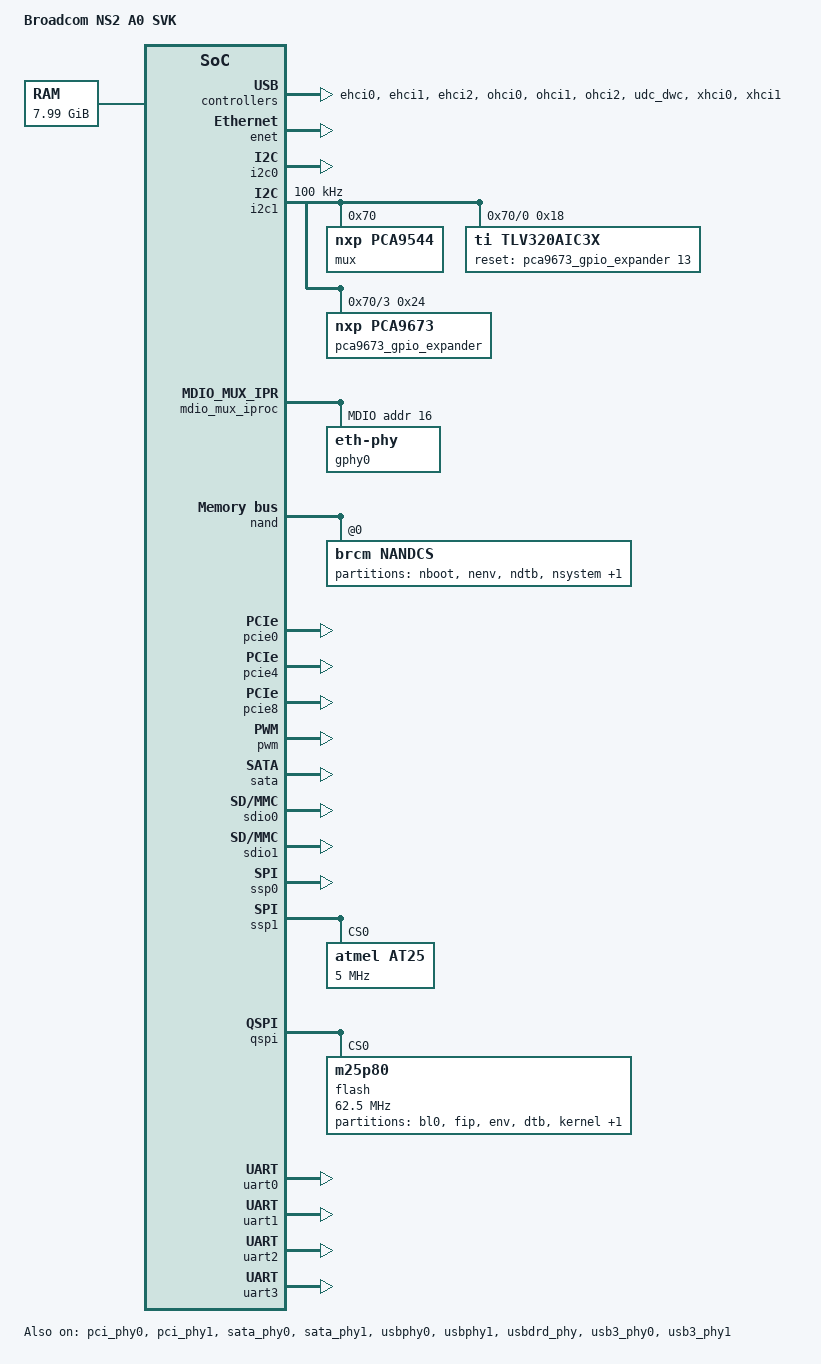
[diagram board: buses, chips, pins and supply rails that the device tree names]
/*
 *  BSD LICENSE
 *
 *  Copyright(c) 2016 Broadcom.  All rights reserved.
 *
 *  Redistribution and use in source and binary forms, with or without
 *  modification, are permitted provided that the following conditions
 *  are met:
 *
 *    * Redistributions of source code must retain the above copyright
 *      notice, this list of conditions and the following disclaimer.
 *    * Redistributions in binary form must reproduce the above copyright
 *      notice, this list of conditions and the following disclaimer in
 *      the documentation and/or other materials provided with the
 *      distribution.
 *    * Neither the name of Broadcom Corporation nor the names of its
 *      contributors may be used to endorse or promote products derived
 *      from this software without specific prior written permission.
 *
 *  THIS SOFTWARE IS PROVIDED BY THE COPYRIGHT HOLDERS AND CONTRIBUTORS
 *  "AS IS" AND ANY EXPRESS OR IMPLIED WARRANTIES, INCLUDING, BUT NOT
 *  LIMITED TO, THE IMPLIED WARRANTIES OF MERCHANTABILITY AND FITNESS FOR
 *  A PARTICULAR PURPOSE ARE DISCLAIMED. IN NO EVENT SHALL THE COPYRIGHT
 *  OWNER OR CONTRIBUTORS BE LIABLE FOR ANY DIRECT, INDIRECT, INCIDENTAL,
 *  SPECIAL, EXEMPLARY, OR CONSEQUENTIAL DAMAGES (INCLUDING, BUT NOT
 *  LIMITED TO, PROCUREMENT OF SUBSTITUTE GOODS OR SERVICES; LOSS OF USE,
 *  DATA, OR PROFITS; OR BUSINESS INTERRUPTION) HOWEVER CAUSED AND ON ANY
 *  THEORY OF LIABILITY, WHETHER IN CONTRACT, STRICT LIABILITY, OR TORT
 *  (INCLUDING NEGLIGENCE OR OTHERWISE) ARISING IN ANY WAY OUT OF THE USE
 * OF THIS SOFTWARE, EVEN IF ADVISED OF THE POSSIBILITY OF SUCH DAMAGE.
 */

/dts-v1/;

#include "ns2-a0.dtsi"

/ {
	model = "Broadcom NS2 A0 SVK";
	compatible = "brcm,ns2-a0-svk", "brcm,ns2-a0";

	aliases {
		serial0 = &uart3;
		serial1 = &uart0;
		serial2 = &uart1;
		serial3 = &uart2;
	};

	chosen {
		stdout-path = "serial0:115200n8";
		bootargs = "earlycon=uart8250,mmio32,0x66130000";
	};

	memory {
		device_type = "memory";
		reg = <0x00000000 0x80000000 0x00000000 0x02200000>,
		      <0x00000000 0x82900000 0x00000001 0xFD700000>;
		/* SVK DDR3 boards have 8GiB of DRAM present */
		/* A0 board does not have ChiMP reserved memory space */
	};

	sound {
		compatible = "bcm,ns2svk-machine";
		bcm,ns2-pcm = <&audio_dma>;

		bcm,ns2-link0-card = "aic3x"; /* "aic3x" for ti3106, "slic" for SI Labs proslic*/
		/*bcm,ns2-link0-codec property:
		 *<&tlv320aic3x> for ti3106; <&si32260> for SI Labs proslic ALSA framework driver;
		 *remove this property if you don't want ALSA framework driver for proslic
		 */
		bcm,ns2-link0-codec = <&tlv320aic3x>;
		bcm,ns2-link0-slave = <1>; /* codec is slave = 1, codec is master = 0 */
		bcm,ns2-link0-ssp = <&i2s0>;
		bcm,ns2-link0-clk = "pll"; /* "pll" or "nco" */

		bcm,ns2-link1-ssp = <&spdif>;
		bcm,ns2-link1-slave = <1>;
		bcm,ns2-link1-clk = "pll";

		status = "okay";
	};
};

&ehci0 {
	status = "ok";
};

&ehci1 {
	status = "ok";
};

&ehci2 {
	status = "ok";
};

&enet {
	status = "ok";
};

&i2c0 {
	status = "ok";
};

&i2c1 {
	clock-frequency = <100000>;
	status = "okay";
	mux@70 {
		compatible = "nxp,pca9544";
		#address-cells = <1>;
		#size-cells = <0>;
		reg = <0x70>;

		i2c@0 {
			#address-cells = <1>;
			#size-cells = <0>;
			reg = <0>;

			tlv320aic3x: tlv320aic3x@18 {
				compatible = "ti,tlv320aic3x";
				reg = <0x18>;
				ai3x-micbias-vg = <2>;
				gpio-reset = <&pca9673_gpio_expander 13 0>;
				status = "okay";
			};
		};

		i2c@3 {
			#address-cells = <1>;
			#size-cells = <0>;
			reg = <3>;
			pca9673_gpio_expander: gpio@24 {
				compatible = "nxp,pca9673";
				reg = <0x24>;
				#gpio-cells = <2>;
				gpio-controller;
				status = "okay";
				lines-initial-states = <0x0F00>;
			};
		};
	};
};

&mdio_mux_iproc {
	mdio@10 {
		gphy0: eth-phy@10 {
			enet-phy-lane-swap;
			reg = <0x10>;
		};
	};
};

&nand {
	nandcs@0 {
		compatible = "brcm,nandcs";
		reg = <0>;
		nand-ecc-mode = "hw";
		nand-ecc-strength = <8>;
		nand-ecc-step-size = <512>;
		nand-bus-width = <16>;
		brcm,nand-oob-sector-size = <16>;
		#address-cells = <1>;
		#size-cells = <1>;

		partition@0 {
			label = "nboot";
			reg = <0x00000000 0x00280000>; /*  2.5MB */
			read-only;
		};

		partition@280000 {
			label = "nenv";
			reg = <0x00280000 0x00040000>; /* 0.25MB */
			read-only;
		};

		partition@2c0000 {
			label = "ndtb";
			reg = <0x002c0000 0x00040000>; /* 0.25MB */
			read-only;
		};

		partition@300000 {
			label = "nsystem";
			reg = <0x00300000 0x03d00000>; /*   61MB */
			read-only;
		};

		partition@4000000 {
			label = "nrootfs";
			reg = <0x04000000 0x3c000000>; /*  960MB */
		};
	};
};

&ohci0 {
	status = "ok";
};

&ohci1 {
	status = "ok";
};

&ohci2 {
	status = "ok";
};

&pci_phy0 {
	status = "ok";
};

&pci_phy1 {
	status = "ok";
};

&pcie0 {
	status = "ok";
};

&pcie4 {
	status = "ok";
};

&pcie8 {
	status = "ok";
};

&pinctrl {
	pinctrl-names = "default";
	pinctrl-0 = <&nand_sel &uart0_sel &uart1_sel &uart2_sel &usb2_sel
		     &sdio_data_pins &sdio_cd &sdio_wp &gpio_sel &pwm_sel>;
	nand_sel: nand_sel {
		function = "nand";
		groups = "nand_grp";
	};

	uart0_sel: uart0_sel {
		function = "uart0";
		groups = "uart0_rts_cts_grp", "uart0_in_out_grp",
			 "uart0_modem_grp";
	};

	uart1_sel: uart1_sel {
		function = "uart1";
		groups = "uart1_dcd_dsr_grp", "uart1_ri_dtr_grp",
			 "uart1_rts_cts_grp", "uart1_in_out_grp";
	};

	uart2_sel: uart2_sel {
		function = "uart2";
		groups = "uart2_rts_cts_grp";
	};

	usb2_sel: usb2_sel {
		pins = "usb2_presence_indication";
		bias-pull-up;
	};

	sdio_data_pins: sdio_pins {
		pins = "sdio0_data0", "sdio0_data1", "sdio0_data2",
		       "sdio0_data3", "sdio0_data4", "sdio0_data5",
		       "sdio0_data6", "sdio0_data7", "sdio1_data0",
		       "sdio1_data1", "sdio1_data2", "sdio1_data3",
		       "sdio1_data4", "sdio1_data5", "sdio1_data6",
		       "sdio1_data7", "sdio0_emmc_rst", "sdio1_emmc_rst";
		drive-strength = <8>;
		slew-rate = <1>;
	};

	sdio_cd: sdio_cd {
		pins = "sdio0_cd_l", "sdio1_cd_l";
		drive-strength = <8>;
		slew-rate = <1>;
		bias-pull-down;
	};

	sdio_wp: sdio_cd {
		pins = "sdio0_wp", "sdio1_wp";
		bias-pull-down;
	};

	gpio_sel: gpio_sel {
		function = "gpio";
		groups = "gpio_0_1_grp";
	};

	pwm_sel: pwm_sel {
		function = "pwm";
		groups = "pwm_0_grp", "pwm_1_grp";
	};
};

&pwm {
	status = "ok";
};

&sata_phy0 {
	aeq_override = <3>;
	cdr_restrict = <149>;
	status = "ok";
};

&sata_phy1 {
	aeq_override = <3>;
	cdr_restrict = <149>;
	status = "ok";
};

&sata {
	status = "ok";
};

&sdio0 {
	no-1-8-v;
	status = "ok";
};

&sdio1 {
	no-1-8-v;
	status = "ok";
};

&ssp0 {
	status = "ok";
};

&ssp1 {
	status = "ok";

	at25@0 {
		compatible = "atmel,at25";
		reg = <0>;
		spi-max-frequency = <5000000>;
		at25,byte-len = <0x8000>;
		at25,addr-mode = <2>;
		at25,page-size = <64>;
		spi-cpha = <1>;
		spi-cpol = <1>;
		pl022,hierarchy = <0>;
		pl022,interface = <0>;
		pl022,slave-tx-disable = <0>;
		pl022,com-mode = <0>;
		pl022,rx-level-trig = <1>;
		pl022,tx-level-trig = <1>;
		pl022,ctrl-len = <11>;
		pl022,wait-state = <0>;
		pl022,duplex = <0>;
	};
};

&qspi {
	flash: m25p80@0 {
		#address-cells = <1>;
		#size-cells = <1>;
		compatible = "m25p80";
		spi-max-frequency = <62500000>;
		m25p,default-addr-width = <3>;
		reg = <0x0 0x0>;

		partition@0 {
			label = "bl0";
			reg = <0x00000000 0x00080000>; /*  512KB */
		};

		partition@80000 {
			label = "fip";
			reg = <0x00080000 0x00150000>; /* 1344KB */
		};

		partition@1e0000 {
			label = "env";
			reg = <0x001e0000 0x00010000>;/*    64KB */
		};

		partition@1f0000 {
			label = "dtb";
			reg = <0x001f0000 0x00010000>; /*   64KB */
		};

		partition@200000 {
			label = "kernel";
			reg = <0x00200000 0x00e00000>; /*   14MB */
		};

		partition@1000000 {
			label = "rootfs";
			reg = <0x01000000 0x01000000>; /*   16MB */
		};
	};
};

&uart0 {
	status = "ok";
};

&uart1 {
	status = "ok";
};

&uart2 {
	status = "ok";
};

&uart3 {
	status = "ok";
};

&udc_dwc {
	status = "ok";
};

&usbphy0 {
	status = "ok";
};

&usbphy1 {
	status = "ok";
};

&usbdrd_phy {
	status = "ok";
};

&usb3_phy0 {
	status = "ok";
};

&usb3_phy1 {
	status = "ok";
};

&xhci0 {
	status = "ok";
};

&xhci1 {
	status = "ok";
};
